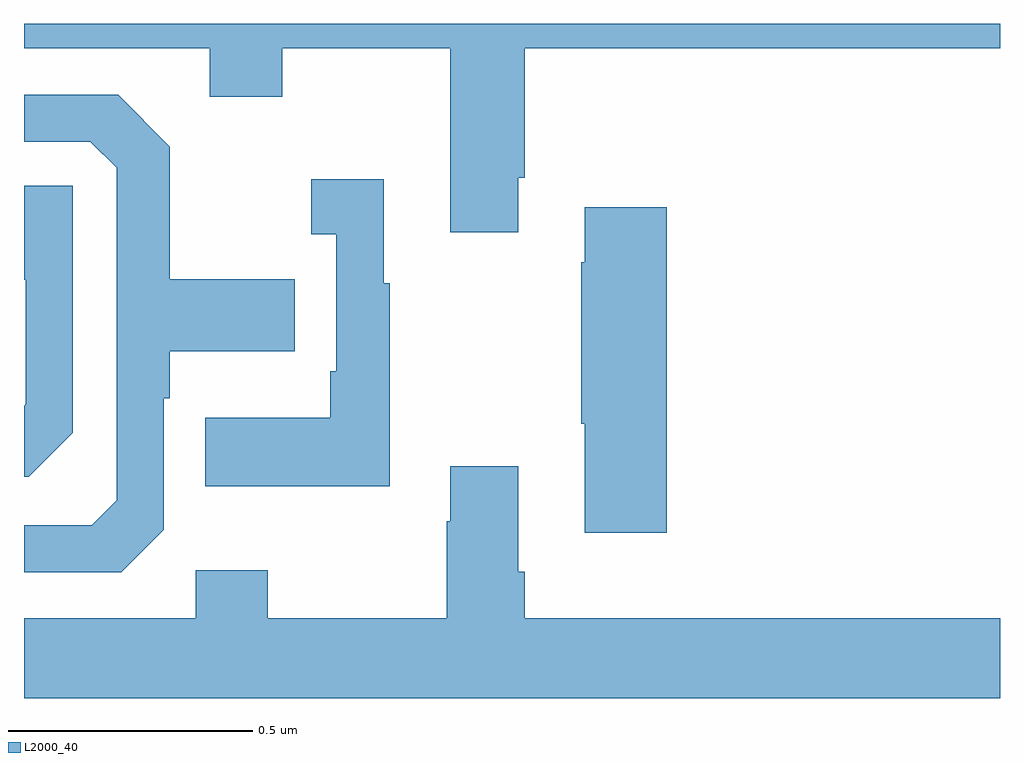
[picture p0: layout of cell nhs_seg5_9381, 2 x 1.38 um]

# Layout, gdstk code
import gdstk
lib = gdstk.Library(unit=1e-6, precision=1e-09)
def P(c, l, *ps):  # polygons
    for p in ps: c.add(gdstk.Polygon(p, *l))
L2000_40 = (2000, 40)

nhs_seg5_9381 = lib.new_cell('nhs_seg5_9381')
P(nhs_seg5_9381, L2000_40, [(234.013,868.483),(234.026,868.483),(234.026,868.748),(235,868.748),(235,868.799),(233,868.799),(233,868.748),(233.381,868.748),(233.381,868.649),(233.529,868.649),(233.529,868.748),(233.873,868.748),(233.873,868.371),(234.013,868.371)],
  [(233.286,867.762),(233.286,868.031),(233.299,868.031),(233.299,868.127),(233.555,868.127),(233.555,868.275),(233.299,868.275),(233.299,868.547),(233.193,868.653),(233,868.653),(233,868.557),(233.136,868.557),(233.19,868.503),(233.19,867.822),(233.139,867.771),(233,867.771),(233,867.675),(233.199,867.675)],
  [(233.749,868.267),(233.737,868.267),(233.737,868.48),(233.589,868.48),(233.589,868.367),(233.64,868.367),(233.64,868.087),(233.628,868.087),(233.628,867.991),(233.371,867.991),(233.371,867.851),(233.749,867.851)],
  [(233.1,867.96),(233.1,868.467),(233,868.467),(233,868.274),(233.004,868.274),(233.004,868.02),(233,868.016),(233,867.87),(233.01,867.87)],
  [(234.317,868.423),(234.149,868.423),(234.149,868.31),(234.142,868.31),(234.142,867.979),(234.149,867.979),(234.149,867.756),(234.317,867.756)],
  [(235,867.58),(234.026,867.58),(234.026,867.676),(234.013,867.676),(234.013,867.892),(233.873,867.892),(233.873,867.779),(233.866,867.779),(233.866,867.58),(233.499,867.58),(233.499,867.679),(233.352,867.679),(233.352,867.58),(233,867.58),(233,867.416),(235,867.416)])

lib.write_gds('nhs_seg5_9381.gds')
